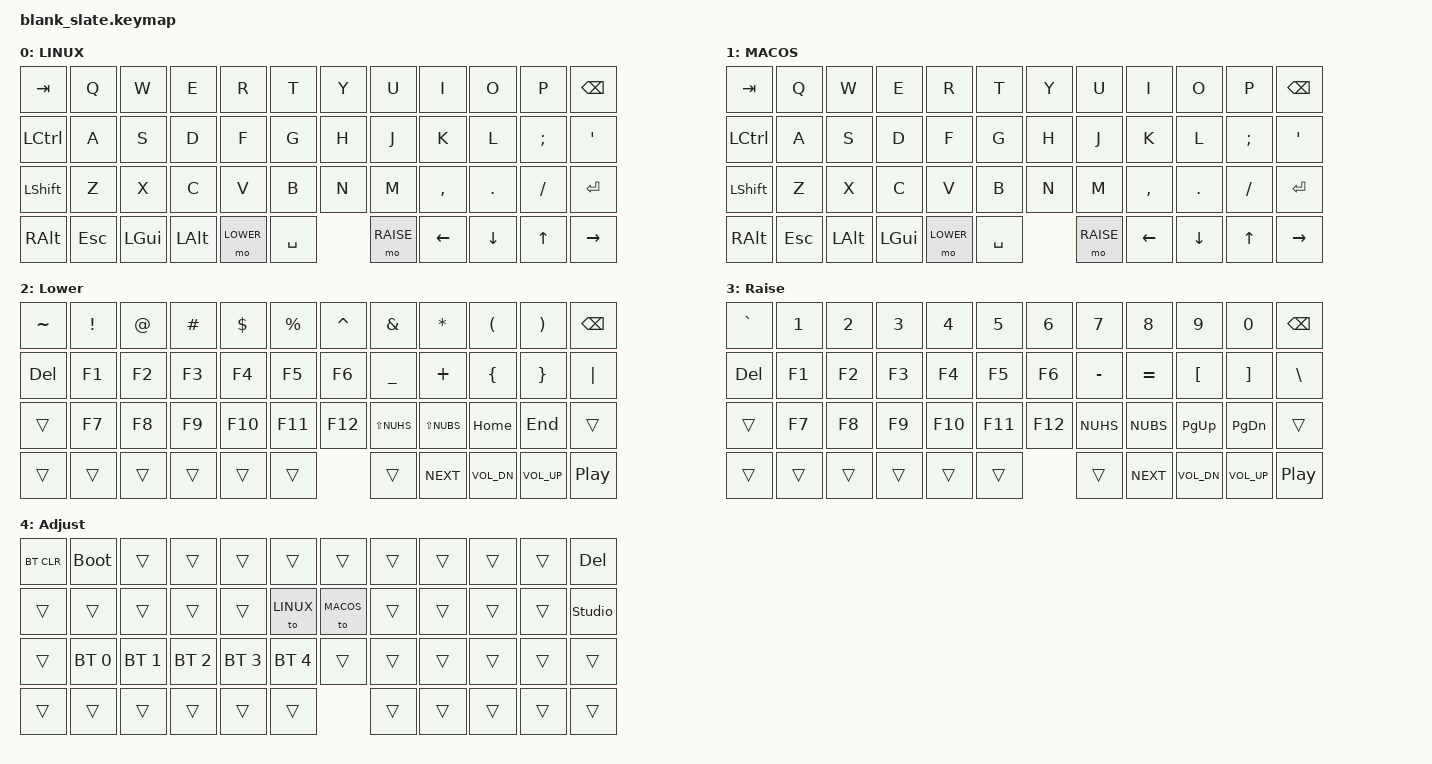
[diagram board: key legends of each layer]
/*
 * Planck keymap adapted for the Blank Slate ZMK keyboard.
 * Plover layer removed at the user's request.
 * Original source: user-provided Planck QMK keymap.c
 *
 * Physical layout: one centered 2u spacebar (not split/double spacebars).
 * The original QMK grid keymap had two adjacent KC_SPC entries; those are
 * collapsed into the single physical 2u position here.
 */

#include <behaviors.dtsi>
#include <dt-bindings/zmk/keys.h>
#include <dt-bindings/zmk/bt.h>
#include <dt-bindings/zmk/outputs.h>

/* Keep the Blank Slate's centered 2u physical layout. */
#define TBLE_MIT 1

/* Layer indices. Keep the base layers first so momentary layers work on all. */
#define LINUX   0
#define MACOS   1
#define LOWER   2
#define RAISE   3
#define ADJUST  4

/ {
    chosen {
        zmk,physical-layout =
#ifdef TBLE_MIT
            &layout_ortho_4x12_1x2u;
#else
            &layout_ortho_4x12_all1u;
#endif
    };

    /* QMK's Lower + Raise -> Adjust tri-layer. */
    conditional_layers {
        compatible = "zmk,conditional-layers";

        adjust_layer {
            if-layers = <LOWER RAISE>;
            then-layer = <ADJUST>;
        };
    };

    keymap {
        compatible = "zmk,keymap";

        linux {
            display-name = "LINUX";
            bindings = <
                &kp TAB      &kp Q      &kp W      &kp E      &kp R      &kp T      &kp Y   &kp U      &kp I      &kp O      &kp P      &kp BSPC
                &kp LCTRL    &kp A      &kp S      &kp D      &kp F      &kp G      &kp H   &kp J      &kp K      &kp L      &kp SEMI   &kp SQT
                &kp LSHFT    &kp Z      &kp X      &kp C      &kp V      &kp B      &kp N   &kp M      &kp COMMA  &kp DOT    &kp FSLH   &kp RET
                &kp RALT     &kp ESC    &kp LGUI   &kp LALT   &mo LOWER      &kp SPACE      &mo RAISE  &kp LEFT   &kp DOWN   &kp UP     &kp RIGHT
            >;
        };

        macos {
            display-name = "MACOS";
            bindings = <
                &kp TAB      &kp Q      &kp W      &kp E      &kp R      &kp T      &kp Y   &kp U      &kp I      &kp O      &kp P      &kp BSPC
                &kp LCTRL    &kp A      &kp S      &kp D      &kp F      &kp G      &kp H   &kp J      &kp K      &kp L      &kp SEMI   &kp SQT
                &kp LSHFT    &kp Z      &kp X      &kp C      &kp V      &kp B      &kp N   &kp M      &kp COMMA  &kp DOT    &kp FSLH   &kp RET
                &kp RALT     &kp ESC    &kp LALT   &kp LGUI   &mo LOWER      &kp SPACE      &mo RAISE  &kp LEFT   &kp DOWN   &kp UP     &kp RIGHT
            >;
        };

        lower {
            display-name = "Lower";
            bindings = <
                &kp TILDE  &kp EXCL   &kp AT     &kp HASH   &kp DLLR   &kp PRCNT  &kp CARET  &kp AMPS   &kp STAR   &kp LPAR   &kp RPAR   &kp BSPC
                &kp DEL    &kp F1     &kp F2     &kp F3     &kp F4     &kp F5     &kp F6     &kp UNDER  &kp PLUS   &kp LBRC   &kp RBRC   &kp PIPE
                &trans     &kp F7     &kp F8     &kp F9     &kp F10    &kp F11    &kp F12    &kp LS(NUHS) &kp LS(NUBS) &kp HOME   &kp END    &trans
                &trans     &trans     &trans     &trans     &trans          &trans           &trans     &kp C_NEXT &kp C_VOL_DN &kp C_VOL_UP &kp C_PP
            >;
        };

        raise {
            display-name = "Raise";
            bindings = <
                &kp GRAVE  &kp N1     &kp N2     &kp N3     &kp N4     &kp N5     &kp N6     &kp N7     &kp N8     &kp N9     &kp N0     &kp BSPC
                &kp DEL    &kp F1     &kp F2     &kp F3     &kp F4     &kp F5     &kp F6     &kp MINUS  &kp EQUAL  &kp LBKT   &kp RBKT   &kp BSLH
                &trans     &kp F7     &kp F8     &kp F9     &kp F10    &kp F11    &kp F12    &kp NUHS   &kp NUBS   &kp PG_UP  &kp PG_DN  &trans
                &trans     &trans     &trans     &trans     &trans          &trans           &trans     &kp C_NEXT &kp C_VOL_DN &kp C_VOL_UP &kp C_PP
            >;
        };

        adjust {
            display-name = "Adjust";
            bindings = <
                &bt BT_CLR &bootloader  &trans       &trans       &trans       &trans       &trans    &trans &trans &trans &trans &kp DEL
                &trans     &trans       &trans       &trans       &trans       &to LINUX    &to MACOS &trans &trans &trans &trans &studio_unlock
                &trans     &bt BT_SEL 0 &bt BT_SEL 1 &bt BT_SEL 2 &bt BT_SEL 3 &bt BT_SEL 4 &trans    &trans &trans &trans &trans &trans
                &trans     &trans       &trans       &trans       &trans              &trans          &trans &trans &trans &trans &trans
            >;
        };
    };
};
